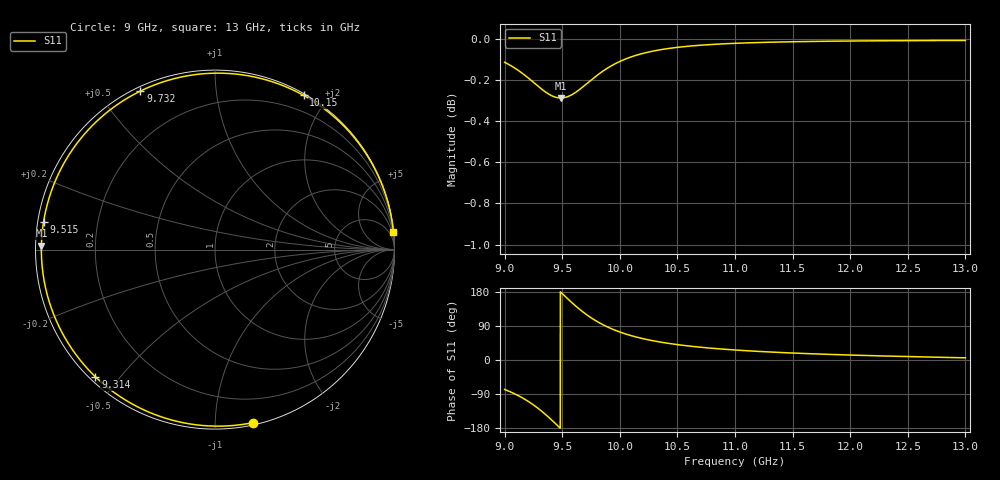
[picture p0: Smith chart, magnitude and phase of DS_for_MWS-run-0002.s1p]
! TOUCHSTONE file generated by CST DESIGN STUDIO
! Date and time: Tue Feb  4 13:47:35 2025
! Project name: C:\Work\MatlabApps\UnitCellOptimizationMatlab\CST\unitcell.cst
! Tree item: Tasks\Sweep1\SPara1\S-Parameters
! Header version: 2024
! Port assignment regex: !\s*Touchstone port\s*([0-9]+)\s*=\s*(CST MWS port|CST DES external port|CST DES block port)\s*(.+)\s* \(\"(.*)\"\)(\s*mode\s*([0-9]+))?.*
! Touchstone port assignment:
! Touchstone port 1 = CST DES external port 1 ("")
# GHz S MA R 50
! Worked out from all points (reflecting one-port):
!   4001 points, 9 GHz to 13 GHz, reference 50 ohm
!   lowest |S11| = -0.3 dB at 9.488 GHz (marker M1), VSWR 60.42, Z = 0.828 + j0.553 ohm
!   phase of S11 starts at -78 deg and turns -277 deg over the sweep
!   S11 on the Smith chart (normalised r, x): 9 GHz: 0.02, -1.24; 9.314 GHz: 0.02, -0.43; 9.515 GHz: 0.02, +0.08; 9.732 GHz: 0.02, +0.63; 10.15 GHz: 0.02, +1.73; 13 GHz: 0, +20
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9  0.987 -77.7
9.08  0.9841 -88.1
9.179  0.9797 -104.2
9.249  0.976 -118.2
9.314  0.9726 -133.2
9.36  0.9705 -145.0
9.408  0.9687 -158.2
9.449  0.9677 -169.9
9.488  0.9674 178.7
9.5  0.9675 175.2
9.515  0.9676 170.9
9.568  0.9687 155.7
9.628  0.971 139.6
9.679  0.9735 127.0
9.732  0.9762 115.2
9.786  0.979 104.6
9.846  0.9818 94.2
9.922  0.9849 83.2
10  0.9874 73.8
10.149  0.991 60.1
10.308  0.9934 49.6
10.5  0.9952 40.6
10.722  0.9965 33.1
11  0.9975 26.4
11.5  0.9984 18.4
12  0.9988 13.1
12.5  0.999 9.0
13  0.9991 5.8
